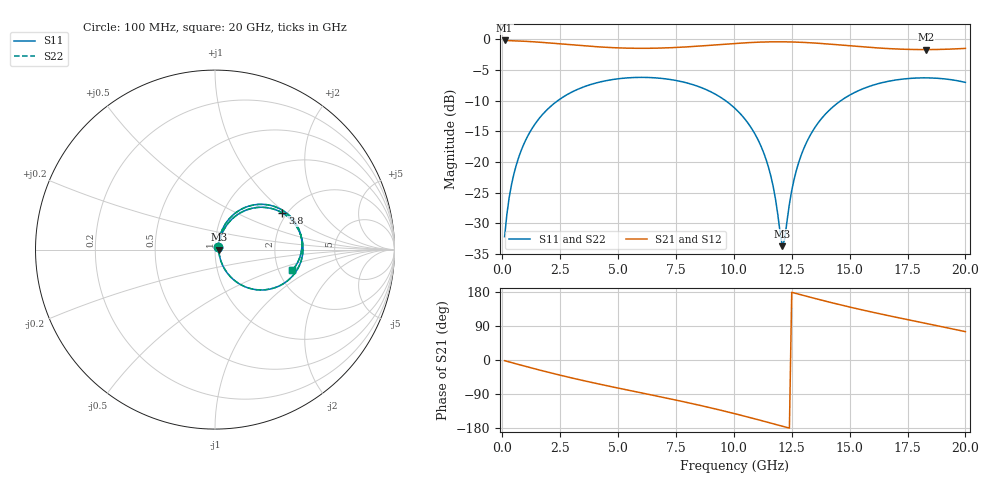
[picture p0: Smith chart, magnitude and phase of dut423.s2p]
! Touchstone file exported from HFSS 2026.1.0
!  File:  C:/ffzhzh/LocalFiles/Ansys_Project_Files/temp_train_TSV_RDL_423_1783096076_35180.aedt
!  Generated:  12:42:03 AM Jul  4, 2026
!  Design:  TSV_RDL
!  Project:  temp_train_TSV_RDL_423_1783096076_35180
! Variables:
!  h_bsmrdl = 5.47um
!  h_ox = 20um
!  h_rdl = 5um
!  h_sub = 74.29um
!  h_tmrdl = 3.25um
!  h_tsv = 74.29um
!  h_via = 3um
!  l_bsmrdl = 352.3um
!  l_sub = 4957.82um
!  l_tmrdl = 833.95um
!  m_sub = 200um
!  pitch = 52.97um
!  r_tsv = 8.11um
!  s_tmrdl = 10um
!  w_bsmrdl = 28.84um
!  w_sub = 500um
!  w_tmrdl = 26.2um
!  x_tsv_center1 = 847.05um
!  x_tsv_center2 = 1228.19um
!  x_tsv_center3 = 2088.34um
!  x_tsv_center4 = 2469.48um
!  x_tsv_center5 = 3329.63um
!  x_tsv_center6 = 3710.77um
# GHz S MA R 50.000000
! Terminal data exported
! Port[1] = TM_RDL1_1_T1
! Port[2] = TM_RDL5_1_T1
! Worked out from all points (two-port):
!   200 points, 100 MHz to 20 GHz, reference 50 ohm
!   highest |S21| = -0.16 dB at 100 MHz (marker M1); lowest = -1.7 dB at 18.3 GHz (marker M2)
!   |S21| within 3 dB of the highest: start of sweep to end of sweep
!   lowest |S11| = -33.8 dB at 12.1 GHz (marker M3), VSWR 1.04, Z = 52.1 - j0.121 ohm
!   |S11| at or under -10 dB: start of sweep to 2.393 GHz; 9.645 GHz to 14.62 GHz (4.974 GHz wide, 41 % of centre)
!   |S22| runs from -33.7 to -6.2 dB; largest |S21 - S12| = 2.4e-14
!   S11 on the Smith chart (normalised r, x): 100 MHz: 1.04, +0.03; 3.8 GHz: 1.89, +0.95; 20 GHz: 2.38, -0.68
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0.1  0.02452 40.8  0.9818 -1.8  0.9818 -1.8  0.02452 40.8
! Gamma 0 0 0 0
! Port Impedance 50 0 50 0
0.3  0.05156 61.9  0.9788 -5.2  0.9788 -5.2  0.05156 61.9
0.5  0.07972 66.0  0.9757 -8.5  0.9757 -8.5  0.07972 66.0
1.1  0.1629 63.5  0.9638 -18.4  0.9638 -18.4  0.1629 63.5
2.1  0.2856 51.1  0.9342 -34.1  0.9342 -34.1  0.2856 51.1
3.5  0.409 32.4  0.888 -54.3  0.888 -54.3  0.4089 32.4
3.8  0.4277 28.5  0.8793 -58.4  0.8793 -58.4  0.4277 28.5
5.3  0.4841 9.9  0.8505 -77.9  0.8505 -77.9  0.4841 9.9
6.8  0.4828 -8.3  0.8506 -96.8  0.8506 -96.8  0.4828 -8.3
8.6  0.4042 -30.9  0.8861 -120.6  0.8861 -120.6  0.4042 -30.9
10.1  0.2681 -50.8  0.9294 -142.6  0.9294 -142.6  0.2681 -50.8
10.8  0.1836 -59.5  0.9459 -153.6  0.9459 -153.6  0.1836 -59.5
11.4  0.1037 -64.1  0.9549 -163.3  0.9549 -163.3  0.1037 -63.9
11.7  0.06287 -61.3  0.957 -168.2  0.957 -168.2  0.06291 -61.1
12.1  0.02052 -3.2  0.9572 -174.8  0.9572 -174.8  0.02074 -3.1
12.2  0.02364 32.1  0.9568 -176.5  0.9568 -176.5  0.02384 31.9
12.7  0.08531 69.9  0.9518 175.3  0.9518 175.3  0.08539 69.8
13.4  0.1783 66.2  0.9377 164.0  0.9377 164.0  0.1783 66.1
14.7  0.3241 49.8  0.8982 144.1  0.8982 144.1  0.3241 49.8
16.7  0.4566 24.5  0.8422 116.7  0.8422 116.7  0.4566 24.4
18.3  0.486 5.4  0.8268 96.5  0.8268 96.5  0.486 5.4
20  0.4465 -14.9  0.8459 74.8  0.8459 74.8  0.4464 -14.9
